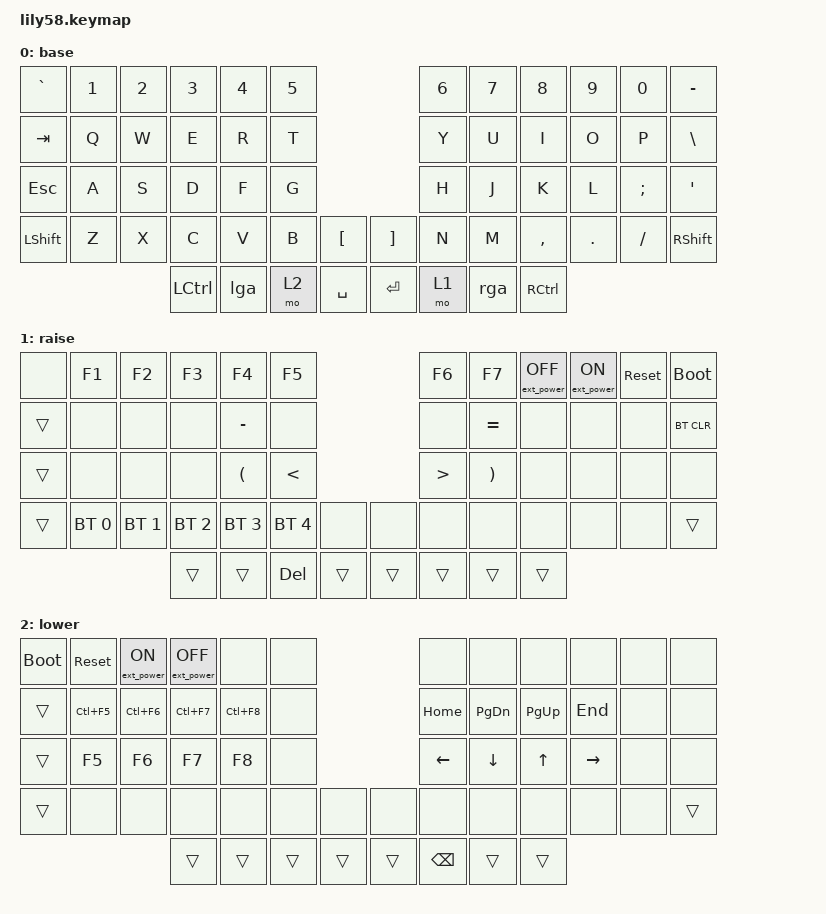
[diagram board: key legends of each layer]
/*
 * Copyright (c) 2020 The ZMK Contributors
 *
 * SPDX-License-Identifier: MIT
 */

#include <behaviors.dtsi>
#include <dt-bindings/zmk/keys.h>
#include <dt-bindings/zmk/bt.h>
#include <dt-bindings/zmk/ext_power.h>

/ {
    behaviors {
        lga: tap_dance_lga {
            compatible = "zmk,behavior-tap-dance";
            label = "LGA";
            #binding-cells = <0>;
            tapping-term-ms = <200>;
            bindings = <&kp LGUI>, <&kp LALT>;
        };

        rga: tap_dance_rga {
            compatible = "zmk,behavior-tap-dance";
            label = "RGA";
            #binding-cells = <0>;
            tapping-term-ms = <200>;
            bindings = <&kp RGUI>, <&kp RALT>;
        };
    };

    keymap {
        compatible = "zmk,keymap";

        base {
// ,------------------------.                ,------------------------.
// | `  | 1 | 2 | 3 | 4 | 5 |                | 6 | 7 | 8 | 9 | 0 | -  |
// |------------------------|                |------------------------|
// |Tab | Q | W | E | R | T |                | Y | U | I | O | P | \  |
// |------------------------|                |------------------------|
// |Esc | A | S | D | F | G |-----.    ,-----| H | J | K | L | ; | '  |
// |------------------------|  [  |    |  ]  |------------------------|
// |LSft| Z | X | C | V | B |-----|    |-----| N | M | , | . | / |RSft|
// `-----------------------/     /     \     \------------------------'
//        |LCtl|LGA |Lwr |/ Spc /       \Entr \| Rse| RGA|RCtl|
//        `--------------------'         '----''--------------'

            bindings = <
&kp GRAVE   &kp N1   &kp N2   &kp N3      &kp N4   &kp N5                           &kp N6   &kp N7   &kp N8      &kp N9    &kp N0     &kp MINUS
&kp TAB     &kp Q    &kp W    &kp E       &kp R    &kp T                            &kp Y    &kp U    &kp I       &kp O     &kp P      &kp BSLH
&kp ESC     &kp A    &kp S    &kp D       &kp F    &kp G                            &kp H    &kp J    &kp K       &kp L     &kp SEMI   &kp SQT
&kp LSHFT   &kp Z    &kp X    &kp C       &kp V    &kp B    &kp LBKT     &kp RBKT   &kp N    &kp M    &kp COMMA   &kp DOT   &kp FSLH   &kp RSHFT
                              &kp LCTRL   &lga     &mo 2    &kp SPACE    &kp RET    &mo 1    &rga     &kp RCTRL
            >;
        };

        raise {
// ,------------------------.                ,------------------------.
// |    | F1| F2| F3| F4| F5|                | F6| F7|EOF|EON|RST|BOOT|
// |------------------------|                |------------------------|
// |Tab |   |   |   | - |   |                |   | = |   |   |   | BTC|
// |------------------------|                |------------------------|
// |Esc |   |   |   | ( | < |-----.    ,-----| > | ) |   |   |   |    |
// |------------------------|     |    |     |------------------------|
// |LSft|BT0|BT1|BT2|BT3|BT4|-----|    |-----|   |   |   |   |   |RSft|
// `-----------------------/     /     \     \------------------------'
//        |LCtl|LGA |Del |/ Spc /       \Entr \| Rse| RGA|RCtl|
//        `--------------------'         '----''--------------'

            bindings = <
&none    &kp F1         &kp F2         &kp F3         &kp F4         &kp F5                           &kp F6      &kp F7      &ext_power EP_OFF   &ext_power EP_ON   &sys_reset   &bootloader
&trans   &none          &none          &none          &kp MINUS      &none                            &none       &kp EQUAL   &none               &none              &none        &bt BT_CLR
&trans   &none          &none          &none          &kp LPAR       &kp LT                           &kp GT      &kp RPAR    &none               &none              &none        &none
&trans   &bt BT_SEL 0   &bt BT_SEL 1   &bt BT_SEL 2   &bt BT_SEL 3   &bt BT_SEL 4   &none    &none    &none       &none       &none               &none              &none        &trans
                                       &trans         &trans         &kp DEL        &trans   &trans   &trans      &trans      &trans
            >;
        };

        lower {
// ,------------------------.                ,------------------------.
// |BOOT|RST|EON|EOF|   |   |                |   |   |   |   |   |    |
// |------------------------|                |------------------------|
// |Tab |CF5|CF6|CF7|CF8|   |                |Hme|PgD|PgU|End|   |    |
// |------------------------|                |------------------------|
// |Esc | F5| F6| F7| F8|   |-----.    ,-----|Lft|Dwn| Up|Rgt|   |    |
// |------------------------|     |    |     |------------------------|
// |LSft|   |   |   |   |   |-----|    |-----|   |   |   |   |   |RSft|
// `-----------------------/     /     \     \------------------------'
//        |LCtl|LGA |Lwr |/ Spc /       \Entr \|Bksp| RGA|RCtl|
//        `--------------------'         '----''--------------'

            bindings = <
&bootloader   &sys_reset   &ext_power EP_ON   &ext_power EP_OFF   &none        &none                      &none      &none       &none       &none       &none   &none
&trans        &kp LC(F5)   &kp LC(F6)         &kp LC(F7)          &kp LC(F8)   &none                      &kp HOME   &kp PG_DN   &kp PG_UP   &kp END     &none   &none
&trans        &kp F5       &kp F6             &kp F7              &kp F8       &none                      &kp LEFT   &kp DOWN    &kp UP      &kp RIGHT   &none   &none
&trans        &none        &none              &none               &none        &none    &none    &none    &none      &none       &none       &none       &none   &trans
                                              &trans              &trans       &trans   &trans   &trans   &kp BSPC   &trans      &trans
            >;
        };
    };
};
